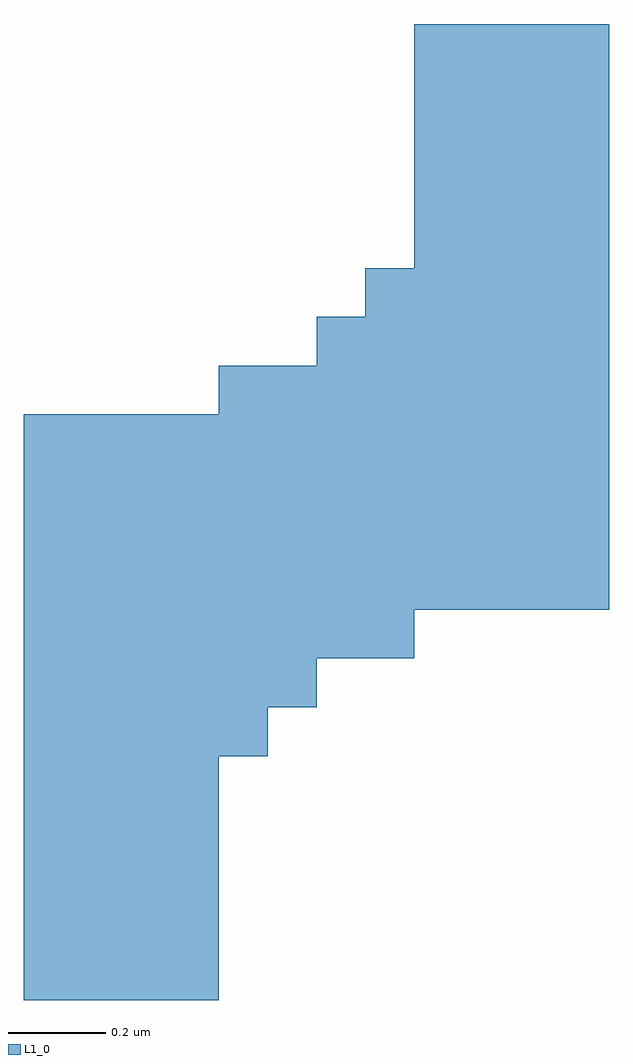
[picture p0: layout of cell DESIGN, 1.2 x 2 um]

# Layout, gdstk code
import gdstk
lib = gdstk.Library(unit=1e-6, precision=1e-09)
def R(c, l, rs):  # rectangles x0, y0, x1, y1
    for r in rs: c.add(gdstk.rectangle(r[:2], r[2:], *l))
L1_0 = (1, 0)

design = lib.new_cell('DESIGN')
R(design, L1_0, [(-0.6,-1,-0.2,-0.5), (-0.6,-0.5,-0.1,-0.4), (-0.6,-0.4,0,-0.3), (-0.6,-0.3,0.2,-0.2), (-0.6,-0.2,0.6,0.2), (-0.2,0.2,0.6,0.3), (0,0.3,0.6,0.4), (0.1,0.4,0.6,0.5), (0.2,0.5,0.6,1)])

lib.write_gds('DESIGN.gds')
